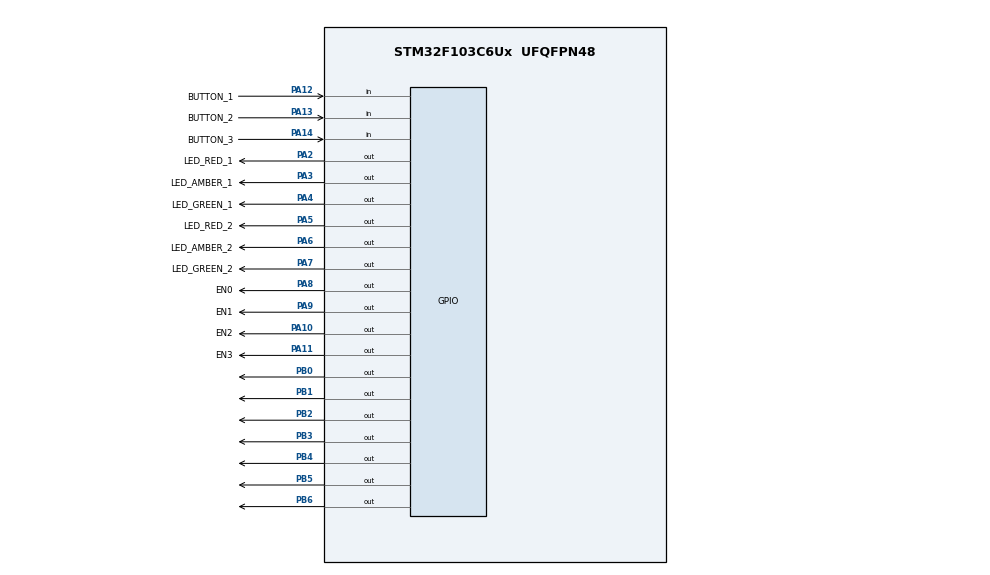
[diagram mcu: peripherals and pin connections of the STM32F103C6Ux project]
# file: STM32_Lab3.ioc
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Mcu.Family=STM32F1
Mcu.Name=STM32F103C6Ux
Mcu.Package=UFQFPN48
NVIC.PriorityGroup=NVIC_PRIORITYGROUP_4
NVIC.TIM2_IRQn=true\:0\:0\:false\:false\:true\:true\:true
PA10.GPIO_Label=EN2
PA10.Signal=GPIO_Output
PA11.GPIO_Label=EN3
PA11.Signal=GPIO_Output
PA12.GPIO_Label=BUTTON_1
PA12.GPIO_PuPd=GPIO_PULLUP
PA12.Signal=GPIO_Input
PA13.GPIO_Label=BUTTON_2
PA13.GPIO_PuPd=GPIO_PULLUP
PA13.Signal=GPIO_Input
PA14.GPIO_Label=BUTTON_3
PA14.GPIO_PuPd=GPIO_PULLUP
PA14.Signal=GPIO_Input
PA2.GPIO_Label=LED_RED_1
PA2.Signal=GPIO_Output
PA3.GPIO_Label=LED_AMBER_1
PA3.Signal=GPIO_Output
PA4.GPIO_Label=LED_GREEN_1
PA4.Signal=GPIO_Output
PA5.GPIO_Label=LED_RED_2
PA5.Signal=GPIO_Output
PA6.GPIO_Label=LED_AMBER_2
PA6.Signal=GPIO_Output
PA7.GPIO_Label=LED_GREEN_2
PA7.Signal=GPIO_Output
PA8.GPIO_Label=EN0
PA8.Signal=GPIO_Output
PA9.GPIO_Label=EN1
PA9.Signal=GPIO_Output
PB0.Signal=GPIO_Output
PB1.Signal=GPIO_Output
PB2.Signal=GPIO_Output
PB3.Signal=GPIO_Output
PB4.Signal=GPIO_Output
PB5.Signal=GPIO_Output
PB6.Signal=GPIO_Output
ProjectManager.HeapSize=0x200
ProjectManager.StackSize=0x400
ProjectManager.TargetToolchain=STM32CubeIDE
RCC.APB1Freq_Value=8000000
RCC.APB2Freq_Value=8000000
TIM2.Period=9
TIM2.Prescaler=7999
VP_SYS_VS_ND.Mode=No_Debug
VP_TIM2_VS_ClockSourceINT.Mode=Internal
board=custom

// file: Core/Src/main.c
/* USER CODE BEGIN Header */
/**
  ******************************************************************************
  * @file           : main.c
  * @brief          : Main program body
  ******************************************************************************
  * @attention
  *
  * <h2><center>&copy; Copyright (c) 2022 STMicroelectronics.
  * All rights reserved.</center></h2>
  *
  * This software component is licensed by ST under BSD 3-Clause license,
  * the "License"; You may not use this file except in compliance with the
  * License. You may obtain a copy of the License at:
  *                        opensource.org/licenses/BSD-3-Clause
  *
  ******************************************************************************
  */
/* USER CODE END Header */
#include "main.h"

/* USER CODE BEGIN Includes */
#include "global.h"
/* USER CODE END Includes */

TIM_HandleTypeDef htim2;

void SystemClock_Config(void);
static void MX_TIM2_Init(void);
static void MX_GPIO_Init(void);

int main(void)
{

  /* MCU Configuration--------------------------------------------------------*/

  /* Reset of all peripherals, Initializes the Flash interface and the Systick. */
  HAL_Init();

  /* Configure the system clock */
  SystemClock_Config();

  /* Initialize all configured peripherals */
  MX_TIM2_Init();
  MX_GPIO_Init();
  /* USER CODE BEGIN 2 */
  HAL_TIM_Base_Start_IT(&htim2);
  /* USER CODE END 2 */

  /* Infinite loop */
  /* USER CODE BEGIN WHILE */
  int seg_index = 0;

  setTimer(0, RED_time);
  setTimer(1, GREEN_time);
  setTimer(2, SEG_switching_time);
  setTimer(3, LED_blinking_time);

  while (1)
  {
	  	fsmTrafficRun();
	  	fsmIncTimeRun();

		if (isTimerUp(2)) {
			// Turn off all 7seg LEDs
			HAL_GPIO_WritePin(GPIOA, 0xF00, SEG_OFF);

			if (seg_index >= 4) seg_index = 0;

			switch (seg_index) {
				case 0:
					// Choose 1st 7seg to display
					HAL_GPIO_WritePin(EN0_GPIO_Port, EN0_Pin, SEG_ON);
					break;
				case 1:
					// Choose 2nd 7seg to display
					HAL_GPIO_WritePin(EN1_GPIO_Port, EN1_Pin, SEG_ON);
					break;
				case 2:
					// Choose 3rd 7seg to display
					HAL_GPIO_WritePin(EN2_GPIO_Port, EN2_Pin, SEG_ON);
					break;
				case 3:
					// Choose 4th 7seg to display
					HAL_GPIO_WritePin(EN3_GPIO_Port, EN3_Pin, SEG_ON);
					break;
				default:
					break;
			}

			// Display the 7seg LED
			update7SEG(seg_index++);

			// Set timer for switching
			setTimer(2, SEG_switching_time);
		}

    /* USER CODE END WHILE */

  }
}

void SystemClock_Config(void)
{
  RCC_OscInitTypeDef RCC_OscInitStruct = {0};
  RCC_ClkInitTypeDef RCC_ClkInitStruct = {0};

  /** Initializes the RCC Oscillators according to the specified parameters
  * in the RCC_OscInitTypeDef structure.
  */
  RCC_OscInitStruct.OscillatorType = RCC_OSCILLATORTYPE_HSI;
  RCC_OscInitStruct.HSIState = RCC_HSI_ON;
  RCC_OscInitStruct.HSICalibrationValue = RCC_HSICALIBRATION_DEFAULT;
  RCC_OscInitStruct.PLL.PLLState = RCC_PLL_NONE;
  if (HAL_RCC_OscConfig(&RCC_OscInitStruct) != HAL_OK)
  {
    Error_Handler();
  }
  /** Initializes the CPU, AHB and APB buses clocks
  */
  RCC_ClkInitStruct.ClockType = RCC_CLOCKTYPE_HCLK|RCC_CLOCKTYPE_SYSCLK
                              |RCC_CLOCKTYPE_PCLK1|RCC_CLOCKTYPE_PCLK2;
  RCC_ClkInitStruct.SYSCLKSource = RCC_SYSCLKSOURCE_HSI;
  RCC_ClkInitStruct.AHBCLKDivider = RCC_SYSCLK_DIV1;
  RCC_ClkInitStruct.APB1CLKDivider = RCC_HCLK_DIV1;
  RCC_ClkInitStruct.APB2CLKDivider = RCC_HCLK_DIV1;

  if (HAL_RCC_ClockConfig(&RCC_ClkInitStruct, FLASH_LATENCY_0) != HAL_OK)
  {
    Error_Handler();
  }
}

static void MX_TIM2_Init(void)
{

  TIM_ClockConfigTypeDef sClockSourceConfig = {0};
  TIM_MasterConfigTypeDef sMasterConfig = {0};

  htim2.Instance = TIM2;
  htim2.Init.Prescaler = 7999;
  htim2.Init.CounterMode = TIM_COUNTERMODE_UP;
  htim2.Init.Period = 9;
  htim2.Init.ClockDivision = TIM_CLOCKDIVISION_DIV1;
  htim2.Init.AutoReloadPreload = TIM_AUTORELOAD_PRELOAD_DISABLE;
  if (HAL_TIM_Base_Init(&htim2) != HAL_OK)
  {
    Error_Handler();
  }
  sClockSourceConfig.ClockSource = TIM_CLOCKSOURCE_INTERNAL;
  if (HAL_TIM_ConfigClockSource(&htim2, &sClockSourceConfig) != HAL_OK)
  {
    Error_Handler();
  }
  sMasterConfig.MasterOutputTrigger = TIM_TRGO_RESET;
  sMasterConfig.MasterSlaveMode = TIM_MASTERSLAVEMODE_DISABLE;
  if (HAL_TIMEx_MasterConfigSynchronization(&htim2, &sMasterConfig) != HAL_OK)
  {
    Error_Handler();
  }

}

static void MX_GPIO_Init(void)
{
  GPIO_InitTypeDef GPIO_InitStruct = {0};

  /* GPIO Ports Clock Enable */
  __HAL_RCC_GPIOA_CLK_ENABLE();
  __HAL_RCC_GPIOB_CLK_ENABLE();

  /*Configure GPIO pin Output Level */
  HAL_GPIO_WritePin(GPIOA, LED_RED_1_Pin|LED_AMBER_1_Pin|LED_GREEN_1_Pin|LED_RED_2_Pin
                          |LED_AMBER_2_Pin|LED_GREEN_2_Pin|EN0_Pin|EN1_Pin
                          |EN2_Pin|EN3_Pin, GPIO_PIN_RESET);

  /*Configure GPIO pin Output Level */
  HAL_GPIO_WritePin(GPIOB, GPIO_PIN_0|GPIO_PIN_1|GPIO_PIN_2|GPIO_PIN_3
                          |GPIO_PIN_4|GPIO_PIN_5|GPIO_PIN_6, GPIO_PIN_RESET);

  /*Configure GPIO pins : LED_RED_1_Pin LED_AMBER_1_Pin LED_GREEN_1_Pin LED_RED_2_Pin
                           LED_AMBER_2_Pin LED_GREEN_2_Pin EN0_Pin EN1_Pin
                           EN2_Pin EN3_Pin */
  GPIO_InitStruct.Pin = LED_RED_1_Pin|LED_AMBER_1_Pin|LED_GREEN_1_Pin|LED_RED_2_Pin
                          |LED_AMBER_2_Pin|LED_GREEN_2_Pin|EN0_Pin|EN1_Pin
                          |EN2_Pin|EN3_Pin;
  GPIO_InitStruct.Mode = GPIO_MODE_OUTPUT_PP;
  GPIO_InitStruct.Pull = GPIO_NOPULL;
  GPIO_InitStruct.Speed = GPIO_SPEED_FREQ_LOW;
  HAL_GPIO_Init(GPIOA, &GPIO_InitStruct);

  /*Configure GPIO pins : PB0 PB1 PB2 PB3
                           PB4 PB5 PB6 */
  GPIO_InitStruct.Pin = GPIO_PIN_0|GPIO_PIN_1|GPIO_PIN_2|GPIO_PIN_3
                          |GPIO_PIN_4|GPIO_PIN_5|GPIO_PIN_6;
  GPIO_InitStruct.Mode = GPIO_MODE_OUTPUT_PP;
  GPIO_InitStruct.Pull = GPIO_NOPULL;
  GPIO_InitStruct.Speed = GPIO_SPEED_FREQ_LOW;
  HAL_GPIO_Init(GPIOB, &GPIO_InitStruct);

  /*Configure GPIO pins : BUTTON_1_Pin BUTTON_2_Pin BUTTON_3_Pin */
  GPIO_InitStruct.Pin = BUTTON_1_Pin|BUTTON_2_Pin|BUTTON_3_Pin;
  GPIO_InitStruct.Mode = GPIO_MODE_INPUT;
  GPIO_InitStruct.Pull = GPIO_PULLUP;
  HAL_GPIO_Init(GPIOA, &GPIO_InitStruct);

}

/* USER CODE BEGIN 4 */
void HAL_TIM_PeriodElapsedCallback(TIM_HandleTypeDef *htim){
	timerRun();
	getKeyInput();
}
/* USER CODE END 4 */

void Error_Handler(void)
{
  __disable_irq();
  while (1)
  {
  }
}

/************************ (C) COPYRIGHT STMicroelectronics *****END OF FILE****/
